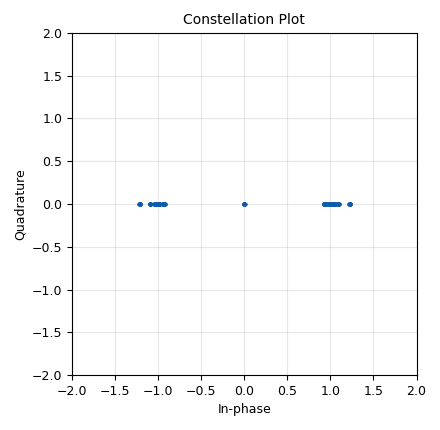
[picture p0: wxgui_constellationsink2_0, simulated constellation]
<?xml version='1.0' encoding='utf-8'?>
<?grc format='1' created='3.7.13'?>
<flow_graph>
<block>
<key>options</key>
<param><key>id</key><value>top_block</value></param>
<param><key>category</key><value>Custom</value></param>
<param><key>generate_options</key><value>wx_gui</value></param>
</block>
<block>
<key>variable</key>
<param><key>id</key><value>carrier</value></param>
<param><key>value</key><value>10</value></param>
</block>
<block>
<key>variable</key>
<param><key>id</key><value>constellation</value></param>
<param><key>value</key><value>2</value></param>
</block>
<block>
<key>variable_slider</key>
<param><key>id</key><value>noise_amplitude</value></param>
<param><key>converver</key><value>float_converter</value></param>
<param><key>value</key><value>.01</value></param>
<param><key>label</key><value></value></param>
<param><key>max</key><value>1</value></param>
<param><key>min</key><value>0</value></param>
<param><key>num_steps</key><value>100</value></param>
<param><key>style</key><value>wx.SL_HORIZONTAL</value></param>
</block>
<block>
<key>variable</key>
<param><key>id</key><value>samp_rate</value></param>
<param><key>value</key><value>32000</value></param>
</block>
<block>
<key>analog_sig_source_x</key>
<param><key>id</key><value>analog_sig_source_x_0</value></param>
<param><key>amp</key><value>1</value></param>
<param><key>_enabled</key><value>0</value></param>
<param><key>freq</key><value>carrier</value></param>
<param><key>offset</key><value>0</value></param>
<param><key>type</key><value>complex</value></param>
<param><key>samp_rate</key><value>samp_rate</value></param>
<param><key>waveform</key><value>analog.GR_COS_WAVE</value></param>
</block>
<block>
<key>blks2_packet_encoder</key>
<param><key>id</key><value>blks2_packet_encoder_0</value></param>
<param><key>access_code</key><value></value></param>
<param><key>bits_per_symbol</key><value>1</value></param>
<param><key>_enabled</key><value>0</value></param>
<param><key>type</key><value>float</value></param>
<param><key>pad_for_usrp</key><value>True</value></param>
<param><key>payload_length</key><value>8</value></param>
<param><key>preamble</key><value></value></param>
<param><key>samples_per_symbol</key><value>16</value></param>
</block>
<block>
<key>blocks_file_sink</key>
<param><key>id</key><value>blocks_file_sink_0_0</value></param>
<param><key>file</key><value>C:\Users\camil\Desktop\output.txt</value></param>
<param><key>type</key><value>byte</value></param>
<param><key>unbuffered</key><value>True</value></param>
</block>
<block>
<key>blocks_multiply_xx</key>
<param><key>id</key><value>blocks_multiply_xx_0</value></param>
<param><key>_enabled</key><value>0</value></param>
<param><key>type</key><value>complex</value></param>
</block>
<block>
<key>blocks_throttle</key>
<param><key>id</key><value>blocks_throttle_0</value></param>
<param><key>samples_per_second</key><value>samp_rate</value></param>
<param><key>type</key><value>complex</value></param>
</block>
<block>
<key>blocks_unpack_k_bits_bb</key>
<param><key>id</key><value>blocks_unpack_k_bits_bb_0</value></param>
<param><key>_enabled</key><value>2</value></param>
<param><key>k</key><value>1</value></param>
</block>
<block>
<key>blocks_vector_source_x</key>
<param><key>id</key><value>blocks_vector_source_x_0</value></param>
<param><key>type</key><value>byte</value></param>
<param><key>repeat</key><value>True</value></param>
<param><key>vector</key><value>(1,0,1,1,0,1,1,1,0,0,0,1,0,1,1,0,1,1,1,0,0,0)</value></param>
</block>
<block>
<key>digital_dxpsk_demod</key>
<param><key>id</key><value>digital_dxpsk_demod_0</value></param>
<param><key>excess_bw</key><value>0.35</value></param>
<param><key>freq_bw</key><value>6.28/100.0</value></param>
<param><key>mod_code</key><value>"gray"</value></param>
<param><key>log</key><value>False</value></param>
<param><key>phase_bw</key><value>6.28/100.0</value></param>
<param><key>samples_per_symbol</key><value>2</value></param>
<param><key>sync_out</key><value>True</value></param>
<param><key>timing_bw</key><value>6.28/100.0</value></param>
<param><key>type</key><value>dbpsk</value></param>
<param><key>verbose</key><value>False</value></param>
</block>
<block>
<key>digital_dxpsk_mod</key>
<param><key>id</key><value>digital_dxpsk_mod_0</value></param>
<param><key>excess_bw</key><value>0.35</value></param>
<param><key>mod_code</key><value>"gray"</value></param>
<param><key>log</key><value>False</value></param>
<param><key>samples_per_symbol</key><value>2</value></param>
<param><key>type</key><value>dbpsk</value></param>
<param><key>verbose</key><value>False</value></param>
</block>
<block>
<key>limesdr_sink</key>
<param><key>id</key><value>limesdr_sink_0</value></param>
<param><key>allow_tcxo_dac</key><value>0</value></param>
<param><key>calibr_bandw_ch0</key><value>5e6</value></param>
<param><key>digital_bandw_ch0</key><value>0</value></param>
<param><key>gain_dB_ch0</key><value>0</value></param>
<param><key>calibr_bandw_ch1</key><value>5e6</value></param>
<param><key>digital_bandw_ch1</key><value>0</value></param>
<param><key>gain_dB_ch1</key><value>30</value></param>
<param><key>pa_path_ch1</key><value>1</value></param>
<param><key>channel_mode</key><value>2</value></param>
<param><key>_enabled</key><value>0</value></param>
<param><key>filename</key><value>C:\Users\camil\Documents\SDR\InitialTransmit.ini</value></param>
<param><key>oversample</key><value>0</value></param>
<param><key>rf_freq</key><value>100e6</value></param>
<param><key>samp_rate</key><value>samp_rate</value></param>
<param><key>dacVal</key><value>125</value></param>
</block>
<block>
<key>limesdr_source</key>
<param><key>id</key><value>limesdr_source_0</value></param>
<param><key>allow_tcxo_dac</key><value>0</value></param>
<param><key>analog_bandw_ch0</key><value>5e6</value></param>
<param><key>calibr_bandw_ch0</key><value>5e6</value></param>
<param><key>digital_bandw_ch0</key><value>0</value></param>
<param><key>gain_dB_ch0</key><value>30</value></param>
<param><key>analog_bandw_ch1</key><value>5e6</value></param>
<param><key>calibr_bandw_ch1</key><value>5e6</value></param>
<param><key>digital_bandw_ch1</key><value>0</value></param>
<param><key>gain_dB_ch1</key><value>30</value></param>
<param><key>channel_mode</key><value>0</value></param>
<param><key>_enabled</key><value>0</value></param>
<param><key>filename</key><value>C:\Users\camil\Documents\SDR\InitialTransmit.ini</value></param>
<param><key>oversample</key><value>0</value></param>
<param><key>rf_freq</key><value>100e6</value></param>
<param><key>samp_rate</key><value>samp_rate</value></param>
<param><key>dacVal</key><value>125</value></param>
</block>
<block>
<key>wxgui_constellationsink2</key>
<param><key>id</key><value>wxgui_constellationsink2_0</value></param>
<param><key>const_size</key><value>2048</value></param>
<param><key>frame_rate</key><value>5</value></param>
<param><key>gain_mu</key><value>0.005</value></param>
<param><key>loop_bw</key><value>6.28/100.0</value></param>
<param><key>M</key><value>4</value></param>
<param><key>fmax</key><value>0.06</value></param>
<param><key>mu</key><value>0.5</value></param>
<param><key>omega_limit</key><value>0.005</value></param>
<param><key>samp_rate</key><value>samp_rate</value></param>
<param><key>symbol_rate</key><value>samp_rate/2</value></param>
<param><key>theta</key><value>0</value></param>
<param><key>title</key><value>Constellation Plot</value></param>
</block>
<block>
<key>wxgui_constellationsink2</key>
<param><key>id</key><value>wxgui_constellationsink2_1</value></param>
<param><key>const_size</key><value>2048</value></param>
<param><key>_enabled</key><value>0</value></param>
<param><key>frame_rate</key><value>5</value></param>
<param><key>gain_mu</key><value>0.005</value></param>
<param><key>loop_bw</key><value>6.28/100.0</value></param>
<param><key>M</key><value>4</value></param>
<param><key>fmax</key><value>0.06</value></param>
<param><key>mu</key><value>0.5</value></param>
<param><key>omega_limit</key><value>0.005</value></param>
<param><key>samp_rate</key><value>samp_rate</value></param>
<param><key>symbol_rate</key><value>samp_rate/4.</value></param>
<param><key>theta</key><value>0</value></param>
<param><key>title</key><value>Constellation Plot</value></param>
</block>
<connection><source_block_id>analog_sig_source_x_0</source_block_id><sink_block_id>blocks_multiply_xx_0</sink_block_id><source_key>0</source_key><sink_key>1</sink_key></connection>
<connection><source_block_id>blks2_packet_encoder_0</source_block_id><sink_block_id>digital_dxpsk_mod_0</sink_block_id><source_key>0</source_key><sink_key>0</sink_key></connection>
<connection><source_block_id>blocks_multiply_xx_0</source_block_id><sink_block_id>digital_dxpsk_demod_0</sink_block_id><source_key>0</source_key><sink_key>0</sink_key></connection>
<connection><source_block_id>blocks_multiply_xx_0</source_block_id><sink_block_id>limesdr_sink_0</sink_block_id><source_key>0</source_key><sink_key>0</sink_key></connection>
<connection><source_block_id>blocks_throttle_0</source_block_id><sink_block_id>wxgui_constellationsink2_0</sink_block_id><source_key>0</source_key><sink_key>0</sink_key></connection>
<connection><source_block_id>blocks_unpack_k_bits_bb_0</source_block_id><sink_block_id>digital_dxpsk_mod_0</sink_block_id><source_key>0</source_key><sink_key>0</sink_key></connection>
<connection><source_block_id>blocks_vector_source_x_0</source_block_id><sink_block_id>blks2_packet_encoder_0</sink_block_id><source_key>0</source_key><sink_key>0</sink_key></connection>
<connection><source_block_id>blocks_vector_source_x_0</source_block_id><sink_block_id>blocks_unpack_k_bits_bb_0</sink_block_id><source_key>0</source_key><sink_key>0</sink_key></connection>
<connection><source_block_id>digital_dxpsk_demod_0</source_block_id><sink_block_id>blocks_file_sink_0_0</sink_block_id><source_key>0</source_key><sink_key>0</sink_key></connection>
<connection><source_block_id>digital_dxpsk_mod_0</source_block_id><sink_block_id>blocks_multiply_xx_0</sink_block_id><source_key>0</source_key><sink_key>0</sink_key></connection>
<connection><source_block_id>digital_dxpsk_mod_0</source_block_id><sink_block_id>blocks_throttle_0</sink_block_id><source_key>0</source_key><sink_key>0</sink_key></connection>
<connection><source_block_id>digital_dxpsk_mod_0</source_block_id><sink_block_id>digital_dxpsk_demod_0</sink_block_id><source_key>0</source_key><sink_key>0</sink_key></connection>
<connection><source_block_id>limesdr_source_0</source_block_id><sink_block_id>wxgui_constellationsink2_1</sink_block_id><source_key>0</source_key><sink_key>0</sink_key></connection>
</flow_graph>
